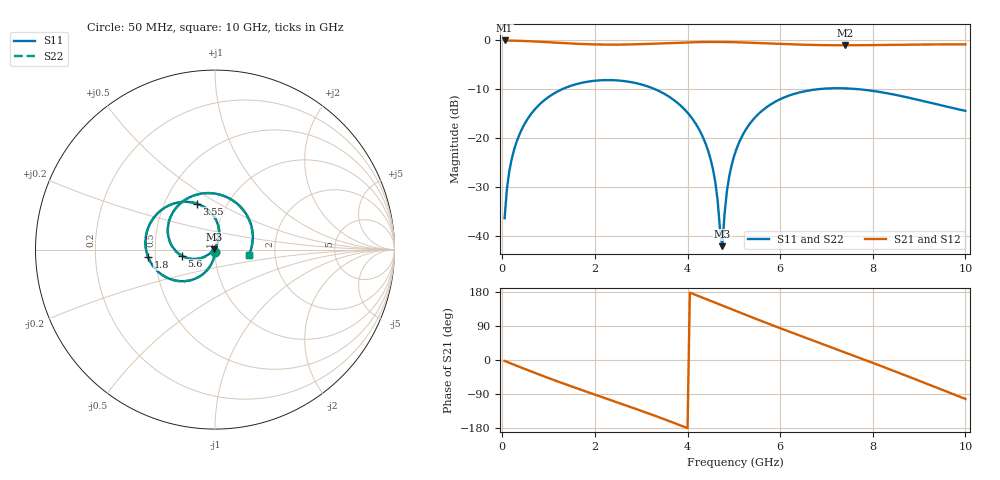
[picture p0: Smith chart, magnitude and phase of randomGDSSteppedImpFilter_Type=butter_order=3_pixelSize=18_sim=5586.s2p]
! freq	dB(S11)	phase(S11)	dB(S12)	phase(S12)
!  dB(S21)	phase(S21)	dB(S22)	phase(S22)
!S-par simulation data
#  GHz  S  DB  R 50
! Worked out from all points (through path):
!   200 points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, 50 MHz to 10 GHz, reference 50 ohm
!   highest |S21| = 0.00 dB at 50 MHz (marker M1); lowest = -1.0 dB at 7.4 GHz (marker M2)
!   group delay of S21, straight-line fit = 128 ps
!   lowest |S11| = -42.2 dB at 4.75 GHz (marker M3), VSWR 1.02, Z = 49.3 + j0.219 ohm
!   |S11| at or under -10 dB: start of sweep to 1.294 GHz; 3.298 GHz to 6.817 GHz (3.519 GHz wide, 69.6 % of centre); 7.691 GHz to end of sweep
!   |S22| runs from -43.7 to -8.1 dB; largest |S21 - S12| = 0
!   S11 on the Smith chart (normalised r, x): 50 MHz: 1.00, -0.03; 1.8 GHz: 0.46, -0.05; 3.55 GHz: 0.72, +0.40; 5.6 GHz: 0.69, -0.05; 10 GHz: 1.46, -0.10
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0.05  -36.46 -92.3  -0.00 -2.5  -0.00 -2.5  -36.46 -92.3
0.1  -30.43 -94.9  -0.01 -4.9  -0.01 -4.9  -30.43 -94.9
0.2  -24.45 -100.3  -0.03 -9.8  -0.03 -9.8  -24.45 -100.3
0.5  -16.82 -114.8  -0.12 -24.3  -0.12 -24.3  -16.82 -114.8
1.1  -10.96 -142.7  -0.42 -52.2  -0.42 -52.2  -10.96 -142.7
1.75  -8.62 -171.3  -0.74 -80.8  -0.74 -80.8  -8.62 -171.3
1.8  -8.53 -173.4  -0.76 -82.9  -0.76 -82.9  -8.53 -173.5
2.6  -8.30 152.8  -0.85 -116.8  -0.85 -116.8  -8.30 152.7
3.4  -10.45 118.2  -0.62 -151.8  -0.62 -151.8  -10.45 118.1
3.55  -11.22 111.5  -0.56 -158.7  -0.56 -158.7  -11.22 111.3
4.05  -15.39 89.0  -0.39 177.8  -0.39 177.8  -15.39 88.6
4.4  -21.40 74.4  -0.32 160.9  -0.32 160.9  -21.41 73.6
4.6  -29.08 71.1  -0.31 151.1  -0.31 151.1  -29.12 69.0
4.75  -42.18 163.4  -0.32 143.8  -0.32 143.8  -43.66 166.4
4.85  -30.94 -145.5  -0.33 138.9  -0.33 138.9  -31.04 -142.6
5.05  -22.44 -146.7  -0.37 129.1  -0.37 129.1  -22.46 -145.5
5.6  -14.49 -169.9  -0.56 102.7  -0.56 102.7  -14.49 -169.4
6.7  -10.14 140.2  -0.92 51.9  -0.92 51.9  -10.14 140.7
7.4  -9.82 108.5  -0.99 20.0  -0.99 20.0  -9.82 109.0
8.35  -10.90 64.9  -0.91 -23.9  -0.91 -23.9  -10.90 65.5
9.25  -12.80 23.5  -0.82 -66.6  -0.82 -66.6  -12.80 24.4
10  -14.43 -9.8  -0.80 -102.8  -0.80 -102.8  -14.43 -8.6
